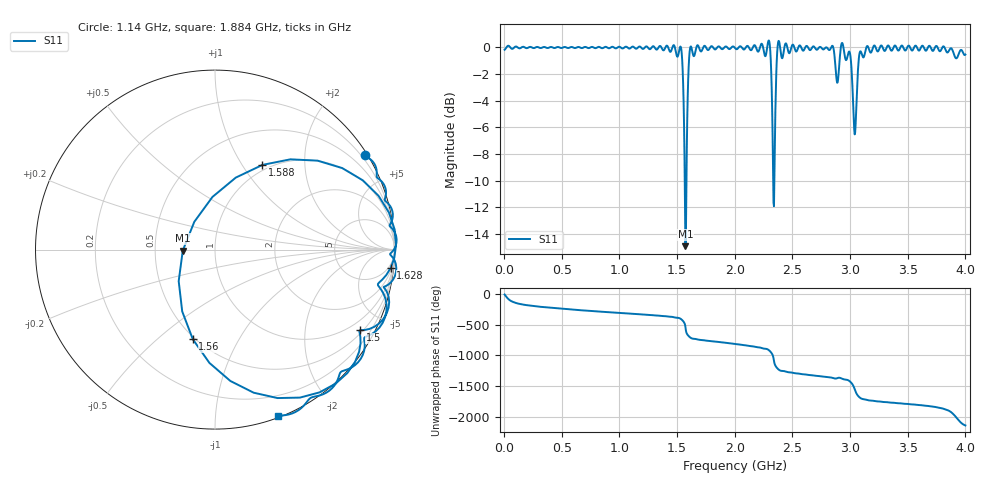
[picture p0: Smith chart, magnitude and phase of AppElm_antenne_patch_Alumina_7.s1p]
! TOUCHSTONE file generated by CST MICROWAVE STUDIO
! Date and time: Thu Jun  9 15:16:43 2022
! Project name: AppElm_antenne_patch_Alumina.cst
! Parameters = {L=30.5; W=41.8; e=0.035; h=1.6; lambda=0.190476; ls=90; w0=1.12; w1=0.373; ws=90; y0=14; y1=10.5}
! Header version: 2018
! Port assignment regex: !\s*Touchstone port\s*([0-9]+)\s*=\s*(CST MWS port|CST DS port)\s*([0-9]+|Zmin|Zmax)\s*\(\"(.*)\"\)(\s*mode\s*([0-9]+))?.*
! Touchstone port assignment:
! Touchstone port 1 = CST MWS port 1 ("")
# GHz S MA R 50
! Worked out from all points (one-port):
!   1000 points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, 4 MHz to 4 GHz, reference 50 ohm
!   lowest |S11| = -14.9 dB at 1.572 GHz (marker M1), VSWR 1.44, Z = 34.8 - j0.382 ohm
!   |S11| at or under -10 dB: 1.566 GHz to 1.581 GHz (14.6 MHz wide, 0.928 % of centre); 2.333357 GHz to 2.343262 GHz (9.905 MHz wide, 0.424 % of centre)
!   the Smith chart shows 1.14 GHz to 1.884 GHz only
!   S11 on the Smith chart (normalised r, x): 1.14 GHz: 0.06, +3.46; 1.5 GHz: 0.61, -3.76; 1.56 GHz: 0.49, -0.66; 1.588 GHz: 0.93, +1.24; 1.628 GHz: 3, -19; 1.884 GHz: 0.02, -1.44
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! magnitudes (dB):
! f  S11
! 4 MHz  -0.2
! 504 MHz  0.0
! 1.004 GHz  0.0
! 1.14 GHz  -0.1
! 1.5 GHz  -0.7
! 1.504 GHz  -0.7
! 1.536 GHz  -0.1
! 1.56 GHz  -5.8
! 1.572 GHz  -14.9
! 1.588 GHz  -5.3
! 1.608 GHz  -0.4
! 1.628 GHz  -0.1
! 1.884 GHz  -0.1
! 2.004 GHz  -0.1
! 2.292 GHz  0.5
! 2.308 GHz  -0.3
! 2.328 GHz  -6.6
! 2.34 GHz  -11.9
! 2.38 GHz  0.5
! 2.504 GHz  0.2
! 2.84 GHz  0.1
! 2.888 GHz  -2.6
! 2.936 GHz  0.3
! 3.004 GHz  -0.7
! 3.04 GHz  -6.5
! 3.092 GHz  -0.3
! 3.504 GHz  0.1
! 4 GHz  -0.5
